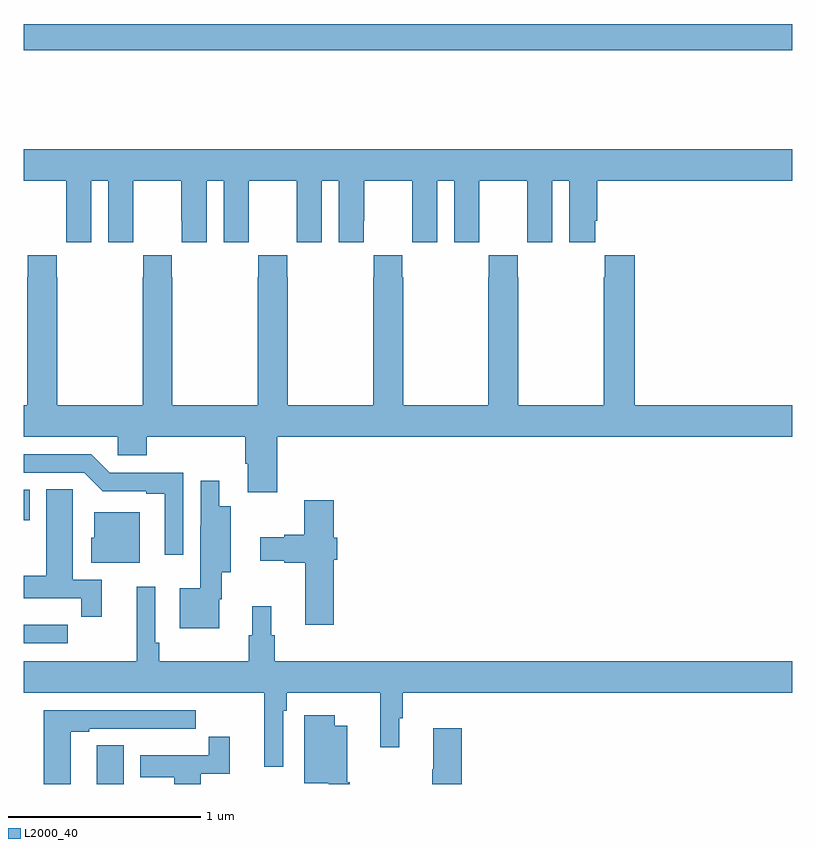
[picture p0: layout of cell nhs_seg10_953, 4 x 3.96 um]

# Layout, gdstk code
import gdstk
lib = gdstk.Library(unit=1e-6, precision=1e-09)
def R(c, l, rs):  # rectangles x0, y0, x1, y1
    for r in rs: c.add(gdstk.rectangle(r[:2], r[2:], *l))
def P(c, l, *ps):  # polygons
    for p in ps: c.add(gdstk.Polygon(p, *l))
L2000_40 = (2000, 40)

nhs_seg10_953 = lib.new_cell('nhs_seg10_953')
R(nhs_seg10_953, L2000_40, [(159,1307.872,159.031,1308.031), (159,1310.32,163,1310.456)])
P(nhs_seg10_953, L2000_40, [(159.352,1309.64),(159.44,1309.64),(159.44,1309.32),(159.57,1309.32),(159.57,1309.432),(159.571,1309.432),(159.571,1309.64),(159.821,1309.64),(159.821,1309.432),(159.822,1309.432),(159.822,1309.32),(159.952,1309.32),(159.952,1309.64),(160.04,1309.64),(160.04,1309.32),(160.17,1309.32),(160.17,1309.432),(160.171,1309.432),(160.171,1309.64),(160.421,1309.64),(160.421,1309.432),(160.422,1309.432),(160.422,1309.32),(160.552,1309.32),(160.552,1309.64),(160.64,1309.64),(160.64,1309.32),(160.77,1309.32),(160.77,1309.432),(160.771,1309.432),(160.771,1309.64),(161.021,1309.64),(161.021,1309.432),(161.022,1309.432),(161.022,1309.32),(161.152,1309.32),(161.152,1309.64),(161.24,1309.64),(161.24,1309.32),(161.37,1309.32),(161.37,1309.432),(161.371,1309.432),(161.371,1309.64),(161.621,1309.64),(161.621,1309.432),(161.622,1309.432),(161.622,1309.32),(161.752,1309.32),(161.752,1309.64),(161.84,1309.64),(161.84,1309.32),(161.974,1309.32),(161.974,1309.432),(161.984,1309.432),(161.984,1309.64),(163,1309.64),(163,1309.804),(159,1309.804),(159,1309.64),(159.221,1309.64),(159.221,1309.432),(159.222,1309.432),(159.222,1309.32),(159.352,1309.32)],
  [(160.319,1308.308),(163,1308.308),(163,1308.472),(162.179,1308.472),(162.179,1309.252),(162.025,1309.252),(162.025,1309.139),(162.019,1309.139),(162.019,1308.472),(161.574,1308.472),(161.574,1309.139),(161.571,1309.139),(161.571,1309.252),(161.421,1309.252),(161.421,1309.139),(161.419,1309.139),(161.419,1308.472),(160.974,1308.472),(160.974,1309.139),(160.971,1309.139),(160.971,1309.252),(160.821,1309.252),(160.821,1309.139),(160.819,1309.139),(160.819,1308.472),(160.374,1308.472),(160.374,1309.139),(160.371,1309.139),(160.371,1309.252),(160.221,1309.252),(160.221,1309.139),(160.219,1309.139),(160.219,1308.472),(159.774,1308.472),(159.774,1309.139),(159.771,1309.139),(159.771,1309.252),(159.621,1309.252),(159.621,1309.139),(159.619,1309.139),(159.619,1308.472),(159.174,1308.472),(159.174,1309.139),(159.171,1309.139),(159.171,1309.252),(159.021,1309.252),(159.021,1309.139),(159.019,1309.139),(159.019,1308.472),(159,1308.472),(159,1308.308),(159.489,1308.308),(159.489,1308.21),(159.641,1308.21),(159.641,1308.308),(160.154,1308.308),(160.154,1308.166),(160.166,1308.166),(160.166,1308.018),(160.319,1308.018)],
  [(159.831,1308.12),(159.447,1308.12),(159.351,1308.216),(159,1308.216),(159,1308.12),(159.315,1308.12),(159.411,1308.024),(159.638,1308.024),(159.638,1308.012),(159.734,1308.012),(159.734,1307.694),(159.831,1307.694)],
  [(160.017,1307.462),(160.03,1307.462),(160.03,1307.603),(160.078,1307.603),(160.078,1307.947),(160.018,1307.947),(160.018,1308.079),(159.92,1308.079),(159.92,1307.843),(159.919,1307.843),(159.919,1307.518),(159.812,1307.518),(159.812,1307.312),(160.017,1307.312)],
  [(159.407,1307.562),(159.256,1307.562),(159.256,1307.924),(159.255,1307.924),(159.255,1308.035),(159.116,1308.035),(159.116,1307.583),(159,1307.583),(159,1307.466),(159.298,1307.466),(159.298,1307.37),(159.407,1307.37)],
  [(160.613,1307.667),(160.631,1307.667),(160.631,1307.781),(160.613,1307.781),(160.613,1307.977),(160.459,1307.977),(160.459,1307.798),(160.356,1307.798),(160.356,1307.785),(160.23,1307.785),(160.23,1307.663),(160.356,1307.663),(160.356,1307.651),(160.466,1307.651),(160.466,1307.328),(160.613,1307.328)],
  [(159.604,1307.914),(159.368,1307.914),(159.368,1307.781),(159.35,1307.781),(159.35,1307.651),(159.604,1307.651)],
  [(160.35,1306.88),(160.37,1306.88),(160.37,1306.976),(160.855,1306.976),(160.855,1306.692),(160.954,1306.692),(160.954,1306.842),(160.973,1306.842),(160.973,1306.976),(163,1306.976),(163,1307.14),(160.307,1307.14),(160.307,1307.274),(160.288,1307.274),(160.288,1307.425),(160.19,1307.425),(160.19,1307.274),(160.171,1307.274),(160.171,1307.14),(159.704,1307.14),(159.704,1307.236),(159.684,1307.236),(159.684,1307.527),(159.587,1307.527),(159.587,1307.14),(159,1307.14),(159,1306.976),(160.253,1306.976),(160.253,1306.59),(160.35,1306.59)],
  [(159.229,1307.328),(159.116,1307.328),(159.116,1307.329),(159,1307.329),(159,1307.232),(159.229,1307.232)],
  [(159.244,1306.773),(159.34,1306.773),(159.34,1306.788),(159.616,1306.788),(159.616,1306.787),(159.782,1306.787),(159.782,1306.788),(159.895,1306.788),(159.895,1306.884),(159.104,1306.884),(159.104,1306.5),(159.244,1306.5)],
  [(160.696,1306.509),(160.684,1306.509),(160.684,1306.804),(160.618,1306.804),(160.618,1306.858),(160.46,1306.858),(160.46,1306.505),(160.587,1306.505),(160.587,1306.5),(160.696,1306.5)],
  [(161.279,1306.789),(161.132,1306.789),(161.132,1306.576),(161.125,1306.576),(161.125,1306.5),(161.279,1306.5)],
  [(159.922,1306.554),(160.073,1306.554),(160.073,1306.747),(159.964,1306.747),(159.964,1306.65),(159.605,1306.65),(159.605,1306.534),(159.782,1306.534),(159.782,1306.5),(159.922,1306.5)],
  [(159.52,1306.703),(159.381,1306.703),(159.381,1306.595),(159.38,1306.595),(159.38,1306.5),(159.52,1306.5)])

lib.write_gds('nhs_seg10_953.gds')
